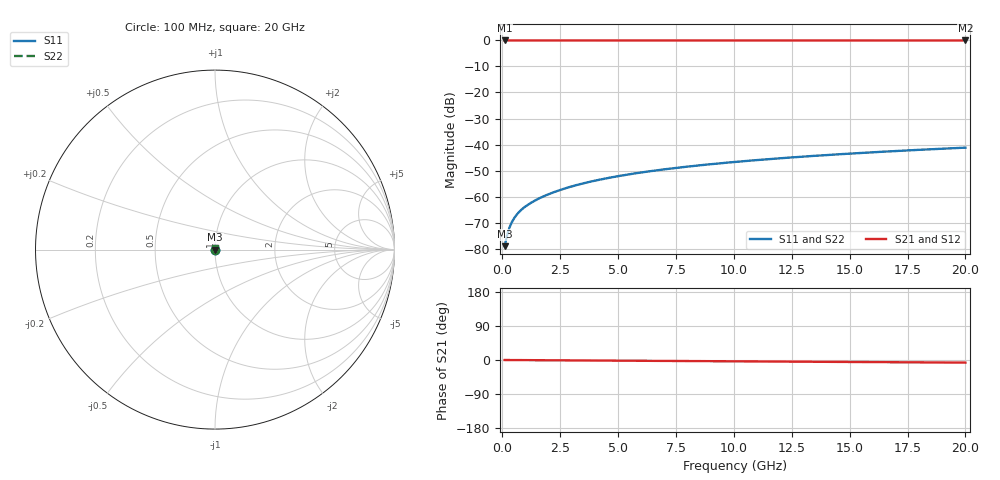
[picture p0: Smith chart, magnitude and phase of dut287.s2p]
! Touchstone file exported from HFSS 2026.1.0
!  File:  C:/ffzhzh/LocalFiles/Ansys_Project_Files/temp_train_TSV_287_1782993691_41620.aedt
!  Generated:  08:02:58 PM Jul  2, 2026
!  Design:  TSV
!  Project:  temp_train_TSV_287_1782993691_41620
! Variables:
!  h_bsmrdl = 2um
!  h_ox = 20um
!  h_rdl = 5um
!  h_sub = 65.05um
!  h_tmrdl = 5um
!  h_tsv = 65.05um
!  h_via = 3um
!  l_bsmrdl = 300um
!  l_sub = 424.64um
!  l_tmrdl = 200um
!  m_sub = 200um
!  pitch = 52.77um
!  r_tsv = 12.32um
!  s_tmrdl = 10um
!  w_bsmrdl = 18um
!  w_sub = 500um
!  w_tmrdl = 12um
!  x_tsv_center1 = 206um
!  x_tsv_center2 = 524um
!  x_tsv_center3 = 736um
!  x_tsv_center4 = 1054um
!  x_tsv_center5 = 1266um
!  x_tsv_center6 = 1584um
# GHz S MA R 50.000000
! Terminal data exported
! Port[1] = TSV1_1_T1
! Port[2] = TSV1_1_T2
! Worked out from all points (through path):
!   200 points, 100 MHz to 20 GHz, reference 50 ohm
!   highest |S21| = 0.00 dB at 100 MHz (marker M1); lowest = 0.0 dB at 20 GHz (marker M2)
!   lowest |S11| = -79.1 dB at 100 MHz (marker M3), VSWR 1.00, Z = 50 + j0.00775 ohm
!   |S11| at or under -10 dB: start of sweep to end of sweep
!   |S22| runs from -79.1 to -41.2 dB; largest |S21 - S12| = 2.2e-15
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0.1  0.0001114 44.0  0.9999 -0.0  0.9999 -0.0  0.0001114 44.0
! Gamma 0 0 0 0
! Port Impedance 50 0 50 0
0.2  0.0001771 59.3  0.9999 -0.1  0.9999 -0.1  0.0001771 59.3
0.3  0.0002467 64.7  0.9999 -0.1  0.9999 -0.1  0.0002467 64.7
0.4  0.0003138 66.8  0.9999 -0.1  0.9999 -0.1  0.0003138 66.8
0.5  0.0003771 67.7  0.9999 -0.2  0.9999 -0.2  0.0003771 67.7
0.6  0.0004363 68.2  0.9998 -0.2  0.9998 -0.2  0.0004363 68.2
0.7  0.0004922 68.6  0.9998 -0.3  0.9998 -0.3  0.0004921 68.6
0.9  0.000596 69.2  0.9998 -0.3  0.9998 -0.3  0.000596 69.2
1.1  0.0006934 70.0  0.9998 -0.4  0.9998 -0.4  0.0006934 70.0
1.3  0.0007875 70.8  0.9997 -0.5  0.9997 -0.5  0.0007875 70.8
1.6  0.0009262 72.1  0.9997 -0.6  0.9997 -0.6  0.0009262 72.1
1.9  0.001064 73.1  0.9997 -0.7  0.9997 -0.7  0.001064 73.1
2.6  0.001385 75.0  0.9997 -0.9  0.9997 -0.9  0.001385 75.0
3.5  0.001796 76.4  0.9996 -1.2  0.9996 -1.2  0.001796 76.4
4.2  0.002112 77.0  0.9996 -1.5  0.9996 -1.5  0.002112 77.0
5  0.002468 77.5  0.9995 -1.7  0.9995 -1.7  0.002468 77.5
6.8  0.003251 78.0  0.9995 -2.4  0.9995 -2.4  0.003252 78.0
8.3  0.003892 78.3  0.9994 -2.9  0.9994 -2.9  0.003892 78.3
10.1  0.004652 78.3  0.9993 -3.5  0.9993 -3.5  0.004652 78.3
13.4  0.006028 78.2  0.9992 -4.6  0.9992 -4.6  0.006028 78.1
16.7  0.007384 77.7  0.9991 -5.8  0.9991 -5.8  0.007384 77.6
20  0.008714 76.9  0.999 -6.9  0.999 -6.9  0.008714 76.9
